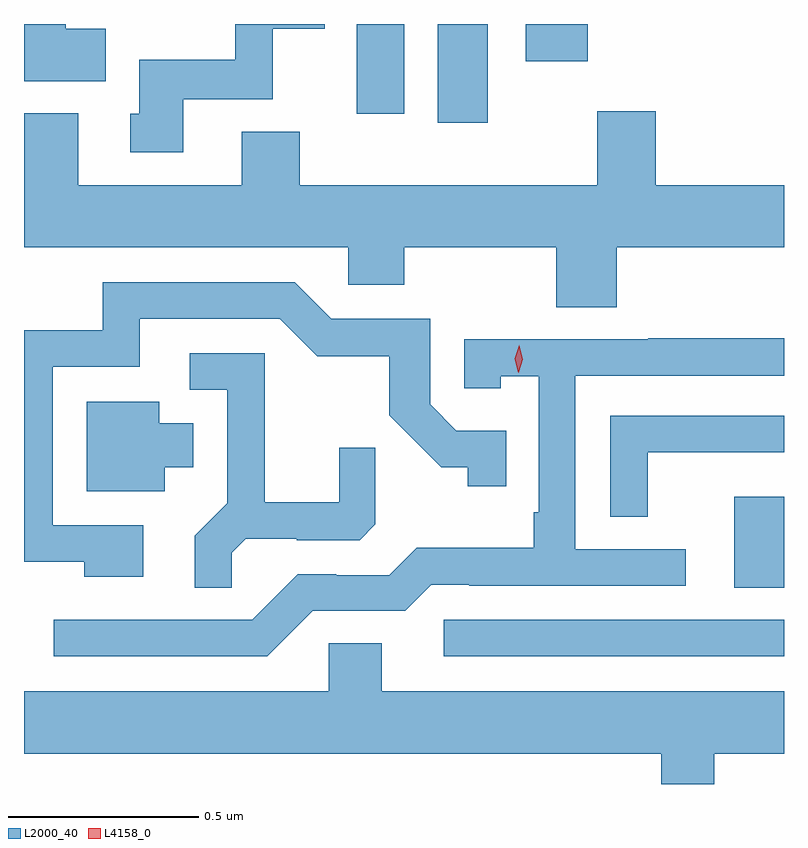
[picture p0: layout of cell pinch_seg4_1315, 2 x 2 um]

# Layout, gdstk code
import gdstk
lib = gdstk.Library(unit=1e-6, precision=1e-09)
def R(c, l, rs):  # rectangles x0, y0, x1, y1
    for r in rs: c.add(gdstk.rectangle(r[:2], r[2:], *l))
def P(c, l, *ps):  # polygons
    for p in ps: c.add(gdstk.Polygon(p, *l))
L2000_40 = (2000, 40)
L4158_0 = (4158, 0)

pinch_seg4_1315 = lib.new_cell('pinch_seg4_1315')
R(pinch_seg4_1315, L2000_40, [(348.963,789.084,349.858,789.18), (349.727,789.265,349.858,789.504), (348.947,790.488,349.078,790.748), (348.734,790.512,348.859,790.748), (349.178,790.65,349.342,790.748)])
P(pinch_seg4_1315, L2000_40, [(348.277,790.55),(348.513,790.55),(348.513,790.736),(348.649,790.736),(348.649,790.748),(348.414,790.748),(348.414,790.654),(348.161,790.654),(348.161,790.512),(348.137,790.512),(348.137,790.41),(348.277,790.41)],
  [(348.073,790.736),(347.968,790.736),(347.968,790.748),(347.858,790.748),(347.858,790.598),(348.073,790.598)],
  [(349.418,790.16),(349.858,790.16),(349.858,790.324),(349.52,790.324),(349.52,790.519),(349.367,790.519),(349.367,790.324),(348.584,790.324),(348.584,790.465),(348.431,790.465),(348.431,790.324),(348.001,790.324),(348.001,790.513),(347.858,790.513),(347.858,790.16),(348.711,790.16),(348.711,790.062),(348.858,790.062),(348.858,790.16),(349.258,790.16),(349.258,790.003),(349.418,790.003)],
  [(348.172,789.429),(347.934,789.429),(347.934,789.846),(348.163,789.846),(348.163,789.972),(348.531,789.972),(348.63,789.874),(348.819,789.874),(348.819,789.718),(348.956,789.581),(349.026,789.581),(349.026,789.531),(349.127,789.531),(349.127,789.678),(348.996,789.678),(348.927,789.747),(348.927,789.972),(348.666,789.972),(348.57,790.068),(348.065,790.068),(348.065,789.942),(347.858,789.942),(347.858,789.333),(348.016,789.333),(348.016,789.293),(348.172,789.293)],
  [(348.618,789.204),(348.861,789.204),(348.93,789.273),(349.03,789.273),(349.03,789.27),(349.6,789.27),(349.6,789.366),(349.308,789.366),(349.308,789.822),(349.858,789.822),(349.858,789.921),(349.501,789.921),(349.501,789.918),(349.017,789.918),(349.017,789.789),(349.113,789.789),(349.113,789.821),(349.212,789.821),(349.212,789.463),(349.2,789.463),(349.2,789.37),(348.892,789.37),(348.819,789.297),(348.68,789.297),(348.68,789.3),(348.579,789.3),(348.459,789.18),(347.936,789.18),(347.936,789.084),(348.498,789.084)],
  [(348.405,789.356),(348.442,789.393),(348.576,789.393),(348.576,789.39),(348.741,789.39),(348.782,789.431),(348.782,789.633),(348.688,789.633),(348.688,789.49),(348.491,789.49),(348.491,789.882),(348.294,789.882),(348.294,789.786),(348.393,789.786),(348.393,789.487),(348.307,789.401),(348.307,789.265),(348.405,789.265)],
  [(348.229,789.581),(348.304,789.581),(348.304,789.697),(348.214,789.697),(348.214,789.754),(348.023,789.754),(348.023,789.518),(348.229,789.518)],
  [(349.5,789.621),(349.858,789.621),(349.858,789.717),(349.401,789.717),(349.401,789.451),(349.5,789.451)],
  [(349.675,788.828),(349.858,788.828),(349.858,788.992),(348.799,788.992),(348.799,789.119),(348.66,789.119),(348.66,788.992),(347.858,788.992),(347.858,788.828),(349.535,788.828),(349.535,788.748),(349.675,788.748)])
P(pinch_seg4_1315, L4158_0, [(349.16,789.83),(349.159,789.831),(349.15,789.867),(349.161,789.903),(349.161,789.903),(349.161,789.903),(349.17,789.866),(349.16,789.831)])

lib.write_gds('pinch_seg4_1315.gds')
